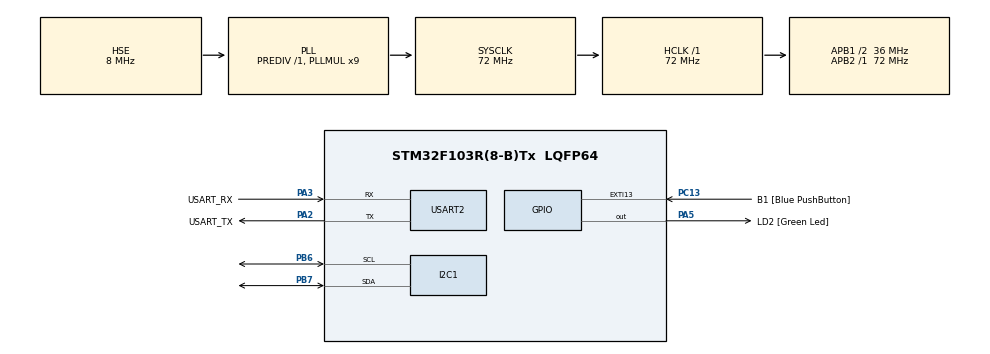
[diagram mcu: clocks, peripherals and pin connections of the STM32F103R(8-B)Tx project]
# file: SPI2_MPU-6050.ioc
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Mcu.Family=STM32F1
Mcu.Name=STM32F103R(8-B)Tx
Mcu.Package=LQFP64
NVIC.EXTI15_10_IRQn=true\:0\:0\:false\:false\:true\:true\:true\:true
NVIC.PriorityGroup=NVIC_PRIORITYGROUP_4
PA13.GPIO_Label=TMS
PA13.Mode=Serial_Wire
PA13.Signal=SYS_JTMS-SWDIO
PA14.GPIO_Label=TCK
PA14.Mode=Serial_Wire
PA14.Signal=SYS_JTCK-SWCLK
PA2.GPIO_Label=USART_TX
PA2.GPIO_Mode=GPIO_MODE_AF_PP
PA2.GPIO_PuPd=GPIO_NOPULL
PA2.GPIO_Speed=GPIO_SPEED_FREQ_LOW
PA2.Mode=Asynchronous
PA2.Signal=USART2_TX
PA3.GPIO_Label=USART_RX
PA3.GPIO_Mode=GPIO_MODE_AF_PP
PA3.GPIO_PuPd=GPIO_NOPULL
PA3.GPIO_Speed=GPIO_SPEED_FREQ_LOW
PA3.Mode=Asynchronous
PA3.Signal=USART2_RX
PA5.GPIO_Label=LD2 [Green Led]
PA5.GPIO_ModeDefaultOutputPP=GPIO_MODE_OUTPUT_PP
PA5.GPIO_PuPd=GPIO_NOPULL
PA5.GPIO_Speed=GPIO_SPEED_FREQ_LOW
PA5.Signal=GPIO_Output
PB3.GPIO_Label=SWO
PB3.Signal=SYS_JTDO-TRACESWO
PB6.Mode=I2C
PB6.Signal=I2C1_SCL
PB7.Mode=I2C
PB7.Signal=I2C1_SDA
PC13-TAMPER-RTC.GPIO_Label=B1 [Blue PushButton]
PC13-TAMPER-RTC.GPIO_PuPd=GPIO_NOPULL
PC13-TAMPER-RTC.Signal=GPXTI13
PC14-OSC32_IN.Mode=LSE-External-Oscillator
PC14-OSC32_IN.Signal=RCC_OSC32_IN
PC15-OSC32_OUT.Mode=LSE-External-Oscillator
PC15-OSC32_OUT.Signal=RCC_OSC32_OUT
PD0-OSC_IN.Mode=HSE-External-Oscillator
PD0-OSC_IN.Signal=RCC_OSC_IN
PD1-OSC_OUT.Mode=HSE-External-Oscillator
PD1-OSC_OUT.Signal=RCC_OSC_OUT
ProjectManager.HeapSize=0x200
ProjectManager.StackSize=0x400
ProjectManager.TargetToolchain=Makefile
RCC.AHBFreq_Value=72000000
RCC.APB1CLKDivider=RCC_HCLK_DIV2
RCC.APB1Freq_Value=36000000
RCC.APB1TimFreq_Value=72000000
RCC.APB2Freq_Value=72000000
RCC.APB2TimFreq_Value=72000000
RCC.HCLKFreq_Value=72000000
RCC.PLLMUL=RCC_PLL_MUL9
RCC.PLLSourceVirtual=RCC_PLLSOURCE_HSE
RCC.RTCClockSelection=RCC_RTCCLKSOURCE_LSE
RCC.SYSCLKFreq_VALUE=72000000
RCC.SYSCLKSource=RCC_SYSCLKSOURCE_PLLCLK
RCC.USBFreq_Value=72000000
USART2.VirtualMode=VM_ASYNC
board=NUCLEO-F103RB

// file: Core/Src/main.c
/* USER CODE BEGIN Header */
/**
  ******************************************************************************
  * @file           : main.c
  * @brief          : Main program body
  ******************************************************************************
  * @attention
  *
  * Copyright (c) 2024 STMicroelectronics.
  * All rights reserved.
  *
  * This software is licensed under terms that can be found in the LICENSE file
  * in the root directory of this software component.
  * If no LICENSE file comes with this software, it is provided AS-IS.
  *
  ******************************************************************************
  */
/* USER CODE END Header */
#include "main.h"
#include "i2c.h"
#include "usart.h"
#include "gpio.h"
#include <stdio.h>
#include <string.h>
#include <math.h>

/* USER CODE BEGIN PTD */
#define MPU6050_ADDRESS 0x68 << 1 // MPU-6050 I2C address
#define PWR_MGMT_1_REG 0x6B
#define ACCEL_XOUT_H 0x3B
#define _USE_MATH_DEFINES
/* USER CODE END PTD */

void SystemClock_Config(void);
/* USER CODE BEGIN PFP */
void MPU6050_Init(void);
void MPU6050_Read_Accel(int16_t* accel_data, int16_t* gyro_data, int16_t* accel_bias,int16_t* gyro_bias);
void UART_Send_Angles(float pitch, float roll, float yaw);
void Calculate_Angles(int16_t* accel_data, int16_t* gyro_data, float* pitch, float* roll, float* yaw);
int IntToStr(int16_t value, char* buffer);
int FloatToStr(float value, char* buffer);
void MPU6050_Calibrate(int16_t* accel_bias, int16_t* gyro_bias);
/* USER CODE END PFP */

int main(void)
{

  /* MCU Configuration--------------------------------------------------------*/

  /* Reset of all peripherals, Initializes the Flash interface and the Systick. */
  HAL_Init();

  /* Configure the system clock */
  SystemClock_Config();

  /* Initialize all configured peripherals */
  MX_GPIO_Init();
  MX_USART2_UART_Init();
  MX_I2C1_Init();

  /* USER CODE BEGIN 2 */
  MPU6050_Init();
  int16_t accel_data[3], gyro_data[3];
  int16_t accel_bias[3] = {0, 0, 0}, gyro_bias[3] = {0, 0, 0};
  float pitch = 0.0f, roll = 0.0f, yaw = 0.0f;

   MPU6050_Calibrate(accel_bias, gyro_bias);
  /* USER CODE END 2 */

  /* Infinite loop */
  /* USER CODE BEGIN WHILE */
  while (1)
  {
    // Read accelerometer data
    MPU6050_Read_Accel(accel_data, gyro_data, accel_bias, gyro_bias);

    // Calculate pitch, roll, and yaw
    Calculate_Angles(accel_data, gyro_data, &pitch, &roll, &yaw);

    // Send accelerometer data to Serial Monitor
    UART_Send_Angles(pitch, roll, yaw);

    // Small delay
    HAL_Delay(2);
  }
}

void SystemClock_Config(void)
{
  RCC_OscInitTypeDef RCC_OscInitStruct = {0};
  RCC_ClkInitTypeDef RCC_ClkInitStruct = {0};

  /** Initializes the RCC Oscillators according to the specified parameters
  * in the RCC_OscInitTypeDef structure.
  */
  RCC_OscInitStruct.OscillatorType = RCC_OSCILLATORTYPE_HSE;
  RCC_OscInitStruct.HSEState = RCC_HSE_ON;
  RCC_OscInitStruct.HSEPredivValue = RCC_HSE_PREDIV_DIV1;
  RCC_OscInitStruct.HSIState = RCC_HSI_ON;
  RCC_OscInitStruct.PLL.PLLState = RCC_PLL_ON;
  RCC_OscInitStruct.PLL.PLLSource = RCC_PLLSOURCE_HSE;
  RCC_OscInitStruct.PLL.PLLMUL = RCC_PLL_MUL9;
  if (HAL_RCC_OscConfig(&RCC_OscInitStruct) != HAL_OK)
  {
    Error_Handler();
  }

  /** Initializes the CPU, AHB and APB buses clocks
  */
  RCC_ClkInitStruct.ClockType = RCC_CLOCKTYPE_HCLK|RCC_CLOCKTYPE_SYSCLK
                              |RCC_CLOCKTYPE_PCLK1|RCC_CLOCKTYPE_PCLK2;
  RCC_ClkInitStruct.SYSCLKSource = RCC_SYSCLKSOURCE_PLLCLK;
  RCC_ClkInitStruct.AHBCLKDivider = RCC_SYSCLK_DIV1;
  RCC_ClkInitStruct.APB1CLKDivider = RCC_HCLK_DIV2;
  RCC_ClkInitStruct.APB2CLKDivider = RCC_HCLK_DIV1;

  if (HAL_RCC_ClockConfig(&RCC_ClkInitStruct, FLASH_LATENCY_2) != HAL_OK)
  {
    Error_Handler();
  }
}

/* USER CODE BEGIN 4 */

void MPU6050_Init(void) {
    uint8_t data;

    // Wake up the MPU-6050 (clear sleep mode bit 6 in register PWR_MGMT_1)
    data = 0;
    HAL_I2C_Mem_Write(&hi2c1, MPU6050_ADDRESS, PWR_MGMT_1_REG, 1, &data, 1, 100);
}

void MPU6050_Calibrate(int16_t* accel_bias, int16_t* gyro_bias) {
    int32_t accel_sum[3] = {0, 0, 0};
    int32_t gyro_sum[3] = {0, 0, 0};
    int16_t accel_data[3], gyro_data[3];

    // Collect 200 samples
    for (int i = 0; i < 200; i++) {
        MPU6050_Read_Accel(accel_data, gyro_data, accel_bias, gyro_bias);

        // Sum the readings for bias calculation
        accel_sum[0] += accel_data[0];
        accel_sum[1] += accel_data[1];
        accel_sum[2] += accel_data[2];
        gyro_sum[0] += gyro_data[0];
        gyro_sum[1] += gyro_data[1];
        gyro_sum[2] += gyro_data[2];

        HAL_Delay(5); // Small delay between readings
    }

    // Calculate the average values (biases)
    accel_bias[0] = accel_sum[0] / 200;
    accel_bias[1] = accel_sum[1] / 200;
    accel_bias[2] = accel_sum[2] / 200;
    gyro_bias[0] = gyro_sum[0] / 200;
    gyro_bias[1] = gyro_sum[1] / 200;
    gyro_bias[2] = gyro_sum[2] / 200;
}

void MPU6050_Read_Accel(int16_t* accel_data, int16_t* gyro_data, int16_t* accel_bias, int16_t* gyro_bias) {
    uint8_t data[14];

    // Read 14 bytes starting from ACCEL_XOUT_H (accelerometer and gyroscope data)
    HAL_I2C_Mem_Read(&hi2c1, MPU6050_ADDRESS, ACCEL_XOUT_H, 1, data, 14, 100);

    // Combine high and low bytes for accelerometer
    accel_data[0] = (int16_t)(data[0] << 8 | data[1]) - accel_bias[0]; // Accel X
    accel_data[1] = (int16_t)(data[2] << 8 | data[3]) - accel_bias[1]; // Accel Y
    accel_data[2] = (int16_t)(data[4] << 8 | data[5]) - accel_bias[2]; // Accel Z

    // Combine high and low bytes for gyroscope
    gyro_data[0] = (int16_t)(data[8] << 8 | data[9]) - gyro_bias[0]; // Gyro X
    gyro_data[1] = (int16_t)(data[10] << 8 | data[11]) - gyro_bias[1]; // Gyro Y
    gyro_data[2] = (int16_t)(data[12] << 8 | data[13]) - gyro_bias[2]; // Gyro Z
}

void Calculate_Angles(int16_t* accel_data, int16_t* gyro_data, float* pitch, float* roll, float* yaw)
{
    // Complementary filter constant (adjust based on performance)
    const float alpha = 0.98f;

    // Convert accelerometer data to angles
    float accel_x = accel_data[0] / 16384.0f; // Convert to g
    float accel_y = accel_data[1] / 16384.0f; // Convert to g
    float accel_z = accel_data[2] / 16384.0f; // Convert to g

    // Calculate pitch and roll from accelerometer
    float accel_pitch = atan2f(accel_y, accel_z) * 180 / 3.14159265358979323846;
    float accel_roll = atan2f(-accel_x, sqrtf(accel_y * accel_y + accel_z * accel_z)) * 180 / 3.14159265358979323846;

    // Calculate time delta (in seconds) for gyro integration
    static uint32_t last_time = 0;
    uint32_t current_time = HAL_GetTick();
    float dt = (current_time - last_time) / 1000.0f; // Delta time in seconds
    last_time = current_time;

    // Integrate gyroscope data for pitch and roll (gyro data in degrees per second)
    float gyro_pitch_rate = gyro_data[0] / 131.0f; // Convert to degrees/sec
    float gyro_roll_rate = gyro_data[1] / 131.0f;  // Convert to degrees/sec
    float gyro_yaw_rate = gyro_data[2] / 131.0f;   // Convert to degrees/sec

    // Apply complementary filter for pitch and roll
    *pitch = alpha * (*pitch + gyro_pitch_rate * dt) + (1.0f - alpha) * accel_pitch;
    *roll = alpha * (*roll + gyro_roll_rate * dt) + (1.0f - alpha) * accel_roll;

    // Integrate gyroscope data for yaw (no accelerometer data available for yaw)
    *yaw += gyro_yaw_rate * dt;

    if (*yaw >= 360.0f) {
        *yaw -= 360.0f;  // If yaw exceeds 360, subtract 360 to wrap around
    } else if (*yaw < 0.0f) {
        *yaw += 360.0f;  // If yaw drops below 0, add 360 to wrap around
    }
}

void UART_Send_Angles(float pitch, float roll, float yaw) {
    char buffer[100];
    int index = 0;

    // Add "Pitch: "
    const char* pitch_label = "Pitch: ";
    for (int i = 0; pitch_label[i] != '\0'; i++) {
        buffer[index++] = pitch_label[i];
    }

    // Convert pitch to string and add to buffer
    index += FloatToStr(pitch, &buffer[index]);

    // Add ", Roll: "
    const char* roll_label = ", Roll: ";
    for (int i = 0; roll_label[i] != '\0'; i++) {
        buffer[index++] = roll_label[i];
    }

    // Convert roll to string and add to buffer
    index += FloatToStr(roll, &buffer[index]);

    // Add ", Yaw: "
    const char* yaw_label = ", Yaw: ";
    for (int i = 0; yaw_label[i] != '\0'; i++) {
        buffer[index++] = yaw_label[i];
    }

    // Convert yaw to string and add to buffer
    index += FloatToStr(yaw, &buffer[index]);

    // Add "\r\n"
    buffer[index++] = '\r';
    buffer[index++] = '\n';

    // Transmit the constructed message over UART
    HAL_UART_Transmit(&huart2, (uint8_t*)buffer, index, HAL_MAX_DELAY);
}

int FloatToStr(float value, char* buffer) {
    int i = 0;
    int isNegative = 0;

    // Handle negative numbers
    if (value < 0) {
        isNegative = 1;
        value = -value;
    }

    // Convert the integer part
    int int_part = (int)value;
    float decimal_part = value - int_part;

    // Convert the integer part to a string
    i += IntToStr(int_part, &buffer[i]);

    // Add the decimal point
    buffer[i++] = '.';

    // Convert the decimal part to two decimal places
    decimal_part *= 100;
    int decimal_int = (int)decimal_part;
    buffer[i++] = (decimal_int / 10) + '0';
    buffer[i++] = (decimal_int % 10) + '0';

    // Add negative sign if needed
    if (isNegative) {
        for (int j = i; j > 0; j--) {
            buffer[j] = buffer[j - 1];
        }
        buffer[0] = '-';
        i++;
    }

    // Null-terminate the string
    buffer[i] = '\0';

    // Return the length of the string
    return i;
}

int IntToStr(int16_t value, char* buffer) {
    int i = 0;
    int isNegative = 0;

    // Handle negative numbers
    if (value < 0) {
        isNegative = 1;
        value = -value;
    }

    // Convert the integer to a string (reverse order)
    do {
        buffer[i++] = (value % 10) + '0';
        value /= 10;
    } while (value > 0);

    // Add negative sign if needed
    if (isNegative) {
        buffer[i++] = '-';
    }

    // Reverse the string to get the correct order
    int start = 0;
    int end = i - 1;
    while (start < end) {
        char temp = buffer[start];
        buffer[start] = buffer[end];
        buffer[end] = temp;
        start++;
        end--;
    }

    // Null-terminate the string
    buffer[i] = '\0';

    // Return the length of the string
    return i;
}

/* USER CODE END 4 */

void Error_Handler(void)
{
  __disable_irq();
  while (1)
  {
  }
}
